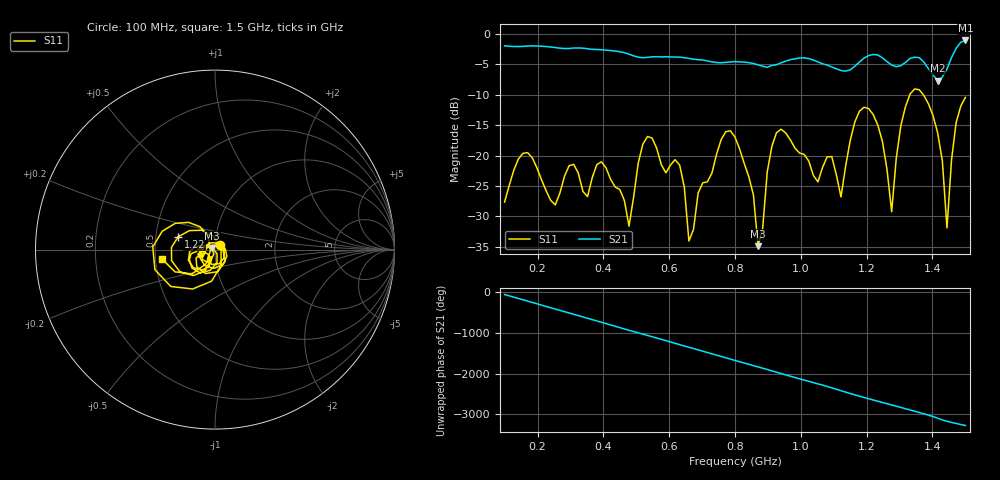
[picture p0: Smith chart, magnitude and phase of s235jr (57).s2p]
! NanoVNA-App
! Date: 2025-09-26 09:45:14
! Start: 100MHz Stop: 1,5GHz Points: 101
! S-Parameter data: F S11 S21 S12 S22
# Hz S RI R 50
!  Frequency  S11_Real  S11_Imag  S21_Real  S21_Imag  S12_Real  S12_Imag  S22_Real  S22_Imag
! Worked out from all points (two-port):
!   101 points, 100 MHz to 1.5 GHz, reference 50 ohm
!   highest |S21| = -1.08 dB at 1.5 GHz (marker M1); lowest = -7.7 dB at 1.416 GHz (marker M2)
!   |S21| within 3 dB of the highest: start of sweep to 665.6 MHz; 1.19 GHz to 1.251 GHz (61.19 MHz wide, 5.01 % of centre)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
!   lowest |S11| = -34.9 dB at 870 MHz (marker M3), VSWR 1.04, Z = 48.5 + j0.942 ohm
!   |S11| at or under -10 dB: start of sweep to 1.331 GHz; 1.372 GHz to end of sweep
!   S12 and S22 are empty: the file has one direction only
!   S11 on the Smith chart (normalised r, x): 100 MHz: 1.06, +0.06; 1.22 GHz: 0.65, +0.10; 1.5 GHz: 0.54, -0.06
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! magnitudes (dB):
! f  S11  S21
! 100 MHz  -27.6  -2.0
! 156 MHz  -19.6  -2.0
! 338 MHz  -25.9  -2.3
! 394 MHz  -21.0  -2.6
! 478 MHz  -31.6  -3.3
! 520 MHz  -18.1  -3.9
! 576 MHz  -21.5  -3.8
! 632 MHz  -21.6  -3.8
! 660 MHz  -34.1  -4.0
! 800 MHz  -17.0  -4.6
! 870 MHz  -34.9  -5.1
! 926 MHz  -16.2  -5.1
! 1.038 GHz  -23.3  -4.3
! 1.122 GHz  -26.8  -6.0
! 1.164 GHz  -14.5  -5.3
! 1.22 GHz  -13.3  -3.4
! 1.276 GHz  -29.2  -5.1
! 1.332 GHz  -9.9  -4.0
! 1.416 GHz  -16.3  -7.7
! 1.444 GHz  -31.9  -5.8
! 1.472 GHz  -14.6  -2.4
! 1.5 GHz  -10.4  -1.1
